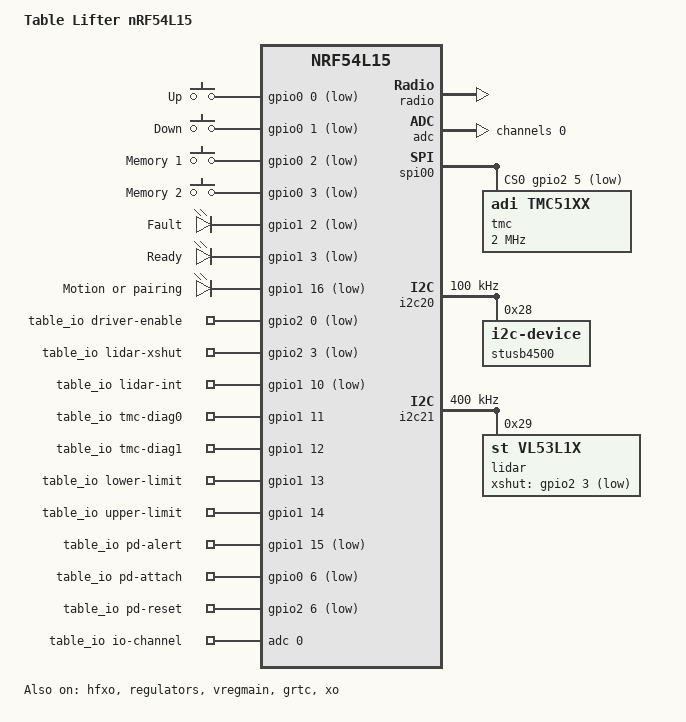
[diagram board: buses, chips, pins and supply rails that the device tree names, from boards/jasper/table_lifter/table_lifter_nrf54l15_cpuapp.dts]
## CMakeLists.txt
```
cmake_minimum_required(VERSION 3.20.0)
set(BOARD_ROOT ${CMAKE_CURRENT_LIST_DIR})
option(TABLE_LIFTER_ROTATION_TEST "Temporary handset control using commanded steps" OFF)
if(TABLE_LIFTER_ROTATION_TEST)
  set(DTC_OVERLAY_FILE "${CMAKE_CURRENT_LIST_DIR}/rotation.overlay"
      CACHE STRING "Rotation test hardware configuration" FORCE)
elseif(DTC_OVERLAY_FILE MATCHES "rotation\\.overlay")
  message(FATAL_ERROR "Use a pristine/separate build directory to leave rotation mode")
endif()
find_package(Zephyr REQUIRED HINTS $ENV{ZEPHYR_BASE})
project(table_lifter)
target_include_directories(app PRIVATE include)
option(TABLE_LIFTER_BENCH_TEST "Unloaded motor: automatic timed test on every boot" OFF)
option(TABLE_LIFTER_SPI_PROBE "Read-only continuous TMC SPI scope test" OFF)
if(TABLE_LIFTER_ROTATION_TEST AND (TABLE_LIFTER_SPI_PROBE OR TABLE_LIFTER_BENCH_TEST))
  message(FATAL_ERROR "Select only one test mode")
endif()
if(TABLE_LIFTER_ROTATION_TEST)
  target_sources(app PRIVATE src/rotation_main.c src/rotation_control.c)
elseif(TABLE_LIFTER_SPI_PROBE)
  target_sources(app PRIVATE src/spi_probe.c)
elseif(TABLE_LIFTER_BENCH_TEST)
  target_sources(app PRIVATE src/bench_main.c)
else()
  target_sources(app PRIVATE src/main.c)
endif()
target_sources(app PRIVATE
  src/buttons.c
  src/motor.c
  src/pd.c
  src/led.c
)

if(NOT TABLE_LIFTER_ROTATION_TEST)
  target_sources(app PRIVATE src/control.c src/range.c src/ble.c)
endif()
```

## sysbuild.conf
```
SB_CONFIG_BOOTLOADER_MCUBOOT=y
SB_CONFIG_BOOT_SIGNATURE_TYPE_ECDSA_P256=y
SB_CONFIG_BOOT_SIGNATURE_KEY_FILE="/home/vscode/.local/share/table-lifter/signing.pem"
```

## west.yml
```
manifest:
  version: 0.13
  projects:
    - name: zephyr
      remote: upstream
      revision: 7cd4b562b30a9bcd76a7288ad90d5e71dd6f87d2
      import:
        name-allowlist:
          - cmsis
          - cmsis_6
          - hal_nordic
          - hal_st
          - mbedtls
          - tf-psa-crypto
          - mcuboot
          - tinycrypt
          - zcbor
          - segger
          - picolibc
  remotes:
    - name: upstream
      url-base: https://github.com/zephyrproject-rtos
  self:
    path: app
```

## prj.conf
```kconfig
# Hardware interfaces and devices
CONFIG_GPIO=y
CONFIG_I2C=y
CONFIG_SPI=y
CONFIG_ADC=y
CONFIG_SENSOR=y
CONFIG_STEPPER=y
CONFIG_STEPPER_ADI_TMC51XX=y
CONFIG_VL53L1X=y
CONFIG_VL53L1X_INTERRUPT_MODE=n
CONFIG_VL53L1X_XSHUT=y

# Logging and RTT diagnostics
CONFIG_LOG=y
CONFIG_LOG_DEFAULT_LEVEL=3
CONFIG_LOG_MODE_DEFERRED=y
CONFIG_LOG_BUFFER_SIZE=4096
CONFIG_LOG_BACKEND_RTT=y
CONFIG_LOG_BACKEND_RTT_BUFFER=1
CONFIG_LOG_BACKEND_RTT_BUFFER_SIZE=2048
CONFIG_LOG_BACKEND_RTT_MODE_DROP=y

# Interactive RTT shell
CONFIG_CONSOLE=y
CONFIG_USE_SEGGER_RTT=y
CONFIG_RTT_CONSOLE=y
CONFIG_SHELL=y
CONFIG_SHELL_BACKEND_RTT=y
CONFIG_SHELL_BACKEND_RTT_BUFFER=0
CONFIG_SHELL_LOG_BACKEND=n

# Persistent settings
CONFIG_SETTINGS=y
CONFIG_SETTINGS_NVS=y
CONFIG_FLASH=y
CONFIG_FLASH_MAP=y
CONFIG_NVS=y

# Bluetooth LE
CONFIG_BT=y
CONFIG_BT_DEVICE_NAME="Table Lifter"
CONFIG_BT_MAX_CONN=1
CONFIG_BT_PERIPHERAL=y
CONFIG_BT_SMP=y
CONFIG_BT_SMP_APP_PAIRING_ACCEPT=y
CONFIG_BT_BONDABLE=y
CONFIG_BT_SETTINGS=y
CONFIG_BT_MAX_PAIRED=4
CONFIG_BT_GATT_DYNAMIC_DB=n

# Signed firmware updates over Bluetooth MCUmgr
CONFIG_STREAM_FLASH=y
CONFIG_ZCBOR=y
CONFIG_MCUMGR=y
CONFIG_MCUMGR_GRP_IMG=y
CONFIG_MCUMGR_GRP_IMG_UPLOAD_CHECK_HOOK=y
CONFIG_MCUMGR_GRP_IMG_STATUS_HOOKS=y
CONFIG_MCUMGR_MGMT_NOTIFICATION_HOOKS=y
CONFIG_MCUMGR_GRP_OS_RESET_HOOK=y
CONFIG_MCUMGR_GRP_OS=y
CONFIG_MCUMGR_TRANSPORT_BT=y
CONFIG_MCUMGR_TRANSPORT_BT_PERM_RW_ENCRYPT=y
CONFIG_IMG_MANAGER=y
CONFIG_BOOTLOADER_MCUBOOT=y
CONFIG_REBOOT=y

# Thread stacks
CONFIG_MAIN_STACK_SIZE=4096
CONFIG_SYSTEM_WORKQUEUE_STACK_SIZE=2048
```

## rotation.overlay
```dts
/* Temporary mode: no LiDAR initialization, normally OPEN limit switches. */
&lidar { status = "disabled"; };
&table_io {
    lower-limit-gpios = <&gpio1 13 GPIO_ACTIVE_LOW>;
    upper-limit-gpios = <&gpio1 14 GPIO_ACTIVE_LOW>;
};
```

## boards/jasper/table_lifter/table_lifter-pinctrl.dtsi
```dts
#include <zephyr/dt-bindings/pinctrl/nrf-pinctrl.h>
&pinctrl {
  spi00_default: spi00_default { group1 { psels = <NRF_PSEL(SPIM_SCK, 2, 1)>, <NRF_PSEL(SPIM_MOSI, 2, 2)>, <NRF_PSEL(SPIM_MISO, 2, 4)>; }; };
  spi00_sleep: spi00_sleep { group1 { psels = <NRF_PSEL(SPIM_SCK, 2, 1)>, <NRF_PSEL(SPIM_MOSI, 2, 2)>, <NRF_PSEL(SPIM_MISO, 2, 4)>; low-power-enable; }; };
  i2c20_default: i2c20_default { group1 { psels = <NRF_PSEL(TWIM_SCL, 1, 4)>, <NRF_PSEL(TWIM_SDA, 1, 5)>; }; };
  i2c20_sleep: i2c20_sleep { group1 { psels = <NRF_PSEL(TWIM_SCL, 1, 4)>, <NRF_PSEL(TWIM_SDA, 1, 5)>; low-power-enable; }; };
  i2c21_default: i2c21_default { group1 { psels = <NRF_PSEL(TWIM_SCL, 1, 8)>, <NRF_PSEL(TWIM_SDA, 1, 9)>; }; };
  i2c21_sleep: i2c21_sleep { group1 { psels = <NRF_PSEL(TWIM_SCL, 1, 8)>, <NRF_PSEL(TWIM_SDA, 1, 9)>; low-power-enable; }; };
};
```

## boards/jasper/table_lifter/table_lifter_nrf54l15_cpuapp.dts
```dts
/dts-v1/;
#include <nordic/nrf54l15_cpuapp.dtsi>
#include <vendor/nordic/nrf54l15_cpuapp_partition.dtsi>
#include <zephyr/dt-bindings/gpio/gpio.h>
#include <zephyr/dt-bindings/adc/adc.h>
#include "table_lifter-pinctrl.dtsi"

/ {
  model = "Table Lifter nRF54L15";
  compatible = "jasper,table-lifter";
  chosen {
    zephyr,code-partition = &slot0_partition;
    zephyr,sram = &cpuapp_sram;
    zephyr,flash-controller = &rram_controller;
    zephyr,flash = &cpuapp_rram;
  };
  aliases {
    up-button = &up_button;
    down-button = &down_button;
    memory1-button = &memory1_button;
    memory2-button = &memory2_button;
    led-red = &led_red;
    led-green = &led_green;
    led-blue = &led_blue;
  };
  buttons {
    compatible = "gpio-keys";
    up_button: up_button { gpios = <&gpio0 0 GPIO_ACTIVE_LOW>; label = "Up"; };
    down_button: down_button { gpios = <&gpio0 1 GPIO_ACTIVE_LOW>; label = "Down"; };
    memory1_button: memory1_button { gpios = <&gpio0 2 GPIO_ACTIVE_LOW>; label = "Memory 1"; };
    memory2_button: memory2_button { gpios = <&gpio0 3 GPIO_ACTIVE_LOW>; label = "Memory 2"; };
  };
  leds {
    compatible = "gpio-leds";
    led_red: led_red { gpios = <&gpio1 2 GPIO_ACTIVE_LOW>; label = "Fault"; };
    led_green: led_green { gpios = <&gpio1 3 GPIO_ACTIVE_LOW>; label = "Ready"; };
    led_blue: led_blue { gpios = <&gpio1 16 GPIO_ACTIVE_LOW>; label = "Motion or pairing"; };
  };
  table_io: zephyr,user {
    driver-enable-gpios = <&gpio2 0 GPIO_ACTIVE_LOW>;
    lidar-xshut-gpios = <&gpio2 3 GPIO_ACTIVE_LOW>;
    lidar-int-gpios = <&gpio1 10 GPIO_ACTIVE_LOW>;
    tmc-diag0-gpios = <&gpio1 11 GPIO_ACTIVE_HIGH>;
    tmc-diag1-gpios = <&gpio1 12 GPIO_ACTIVE_HIGH>;
    lower-limit-gpios = <&gpio1 13 GPIO_ACTIVE_HIGH>;
    upper-limit-gpios = <&gpio1 14 GPIO_ACTIVE_HIGH>;
    pd-alert-gpios = <&gpio1 15 GPIO_ACTIVE_LOW>;
    pd-attach-gpios = <&gpio0 6 GPIO_ACTIVE_LOW>;
    pd-reset-gpios = <&gpio2 6 GPIO_ACTIVE_LOW>;
    io-channels = <&adc 0>;
  };
};

&cpuapp_sram { status = "okay"; };
&hfxo { status = "okay"; };
&regulators { status = "okay"; };
&vregmain { status = "okay"; };
&grtc {
  status = "okay";
  owned-channels = <0 1 2 3 4 5 6 7 8 9 10 11>;
  child-owned-channels = <3 4 7 8 9 10 11>;
};
&clock { status = "okay"; };
&xo { status = "okay"; };
&lfclk {
  status = "okay";
  k32src = "rc";
  k32src-accuracy-ppm = <250>;
};
&gpio0 { status = "okay"; };
&gpio1 { status = "okay"; };
&gpio2 { status = "okay"; };
&gpiote20 { status = "okay"; };
&gpiote30 { status = "okay"; };
&radio { status = "okay"; };
&adc {
  status = "okay";
  #address-cells = <1>;
  #size-cells = <0>;
  channel@0 {
    reg = <0>;
    zephyr,gain = "ADC_GAIN_1_4";
    zephyr,reference = "ADC_REF_INTERNAL";
    zephyr,acquisition-time = <ADC_ACQ_TIME_DEFAULT>;
    zephyr,input-positive = <NRF_SAADC_AIN2>;
    zephyr,resolution = <12>;
  };
};
&spi00 {
  status = "okay";
  cs-gpios = <&gpio2 5 GPIO_ACTIVE_LOW>;
  pinctrl-0 = <&spi00_default>;
  pinctrl-1 = <&spi00_sleep>;
  pinctrl-names = "default", "sleep";
  tmc: tmc5160@0 {
    compatible = "adi,tmc51xx";
    reg = <0>;
    /* SPIM00: 128 MHz / 64; 1 MHz exceeds its maximum divisor of 126. */
    spi-max-frequency = <2000000>;
    clock-frequency = <16000000>;
    driver: stepper-driver {
      compatible = "adi,tmc51xx-stepper-driver";
      micro-step-res = <16>;
      en-gpios = <&gpio2 0 GPIO_ACTIVE_LOW>;
    };
    ramp: motion-controller {
      compatible = "adi,tmc51xx-stepper-ctrl";
      irun = <7>;
      ihold = <2>;
      iholddelay = <4>;
      vstart = <1>;
      vstop = <10>;
      d1 = <1>;
    };
  };
};
&i2c20 {
  status = "okay";
  pinctrl-0 = <&i2c20_default>;
  pinctrl-1 = <&i2c20_sleep>;
  pinctrl-names = "default", "sleep";
  clock-frequency = <100000>;
  stusb4500: stusb4500@28 { compatible = "zephyr,i2c-device"; reg = <0x28>; };
};
&i2c21 {
  status = "okay";
  pinctrl-0 = <&i2c21_default>;
  pinctrl-1 = <&i2c21_sleep>;
  pinctrl-names = "default", "sleep";
  clock-frequency = <400000>;
  lidar: vl53l1x@29 {
    compatible = "st,vl53l1x";
    reg = <0x29>;
    xshut-gpios = <&gpio2 3 GPIO_ACTIVE_LOW>;
  };
};
&nfct { status = "disabled"; };
```

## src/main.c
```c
#include "table_lifter.h"

#include <zephyr/dfu/mcuboot.h>
#include <zephyr/kernel.h>
#include <zephyr/logging/log.h>
#include <zephyr/settings/settings.h>

LOG_MODULE_REGISTER(table_lifter, LOG_LEVEL_INF);

struct service_state {
    bool pd_ready;
    bool buttons_ready;
    bool range_ready;
    bool ble_ready;
};

struct status_log_state {
    enum lifter_motion previous_motion;
    enum lifter_fault previous_fault;
    bool previous_pd;
    bool previous_range;
    bool first_snapshot;
    int64_t next_snapshot;
};

/** @brief Initialize services in dependency order and record optional readiness.
 *  @param services Destination for services checked during each control cycle.
 *  @return True if every service initialized successfully.
 */
static bool initialize_services(struct service_state *services)
{
    int err;
    bool healthy = true;

    err = lifter_led_init();
    healthy &= err == 0;
    if (err) LOG_ERR("LED init: %d", err);

    err = lifter_buttons_init();
    services->buttons_ready = err == 0;
    healthy &= err == 0;
    if (err) LOG_ERR("Button init: %d", err);

    err = settings_subsys_init();
    healthy &= err == 0;
    if (err) LOG_ERR("Settings init: %d", err);

    err = lifter_control_init();
    healthy &= err == 0;
    if (err) LOG_ERR("Settings load: %d", err);

    err = lifter_pd_init();
    services->pd_ready = err == 0;
    healthy &= services->pd_ready;
    if (err) LOG_ERR("STUSB4500 init: %d", err);

    err = lifter_motor_init();
    healthy &= err == 0;
    if (err) LOG_ERR("TMC5160 init: %d", err);

    err = lifter_range_init();
    services->range_ready = err == 0;
    healthy &= services->range_ready;
    if (err) LOG_ERR("VL53L1X init: %d", err);

    err = lifter_ble_init();
    services->ble_ready = err == 0;
    healthy &= services->ble_ready;
    if (err) LOG_ERR("Bluetooth init/bond load: %d", err);

    return healthy;
}

/** @brief Confirm the booted image only when all services initialized.
 *  @param healthy True if service initialization completed without errors.
 */
static void confirm_image(bool healthy)
{
    if (!healthy) {
        LOG_ERR("Service initialization incomplete; MCUboot image unconfirmed");
        return;
    }

    int err = boot_write_img_confirmed();
    if (err) LOG_ERR("MCUboot confirm failed: %d", err);
    else LOG_INF("Services initialized; MCUboot image confirmed");
}

/** @brief Log state transitions and a periodic status snapshot.
 *  @param status Latest control status.
 *  @param log_state Previous logged values and next snapshot time.
 */
static void log_status(const struct lifter_status *status,
                       struct status_log_state *log_state)
{
    int64_t now = k_uptime_get();
    if (!log_state->first_snapshot &&
        status->motion == log_state->previous_motion &&
        status->fault == log_state->previous_fault &&
        status->pd_ok == log_state->previous_pd &&
        status->range_valid == log_state->previous_range &&
        now < log_state->next_snapshot) return;

    if (status->fault == LIFTER_OK) {
        LOG_INF("motion=%d pd=%d range=%d distance=%d mm height=%d mm target=%d mm",
                status->motion, status->pd_ok, status->range_valid,
                status->distance_mm, status->height_mm, status->target_mm);
    } else {
        LOG_WRN("fault=%d motion=%d pd=%d range=%d distance=%d mm",
                status->fault, status->motion, status->pd_ok,
                status->range_valid, status->distance_mm);
    }
    struct lifter_pd_diagnostics pd = lifter_pd_diagnostics();
    struct lifter_range_diagnostics range = lifter_range_diagnostics();
    struct lifter_motor_diagnostics motor = lifter_motor_diagnostics();
    LOG_INF("diagnostics: bus=%d mV RDO=0x%08x PD_ALERT=%d lidar_status=%d raw=%d mm age=%u ms TMC GSTAT=0x%08x DRV_STATUS=0x%08x DIAG0=%d DIAG1=%d spi=%d ota=%d quiet=%d",
            pd.bus_mv, pd.rdo, pd.alert, range.range_status, range.raw_mm, range.age_ms,
            motor.gstat, motor.drv_status, motor.diag0, motor.diag1, motor.spi_ok,
            status->maintenance, status->quiet);
    log_state->previous_motion = status->motion;
    log_state->previous_fault = status->fault;
    log_state->previous_pd = status->pd_ok;
    log_state->previous_range = status->range_valid;
    log_state->first_snapshot = false;
    log_state->next_snapshot = now + 5000;
}

/** @brief Initialize firmware services and run the table control loop.
 *  @return Never returns during normal operation.
 */
int main(void)
{
    struct service_state services = {0};
    bool healthy = initialize_services(&services);
    confirm_image(healthy);

    struct status_log_state log_state = {.first_snapshot = true};

    while (true) {
        int distance = 0;
        bool range_valid = services.range_ready && lifter_range_read(&distance) == 0;
        bool pd_ok = services.pd_ready && lifter_pd_contract_ok();
        uint8_t buttons = services.buttons_ready ? lifter_buttons_read() : 0;
        uint8_t limits = services.buttons_ready ? lifter_limits_read() :
                         LIFTER_LIMIT_LOW | LIFTER_LIMIT_HIGH;

        lifter_control_tick(k_uptime_get_32(), buttons, distance, range_valid, pd_ok, limits);
        struct lifter_status state = lifter_control_status();
        if (services.ble_ready) lifter_ble_update(&state);
        /* Bluetooth may change the pairing-window flag in the control status. */
        state = lifter_control_status();
        lifter_led_update(&state);
        log_status(&state, &log_state);
        k_msleep(50);
    }
}
```

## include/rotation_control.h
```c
#ifndef ROTATION_CONTROL_H_
#define ROTATION_CONTROL_H_
#include "table_lifter.h"

/* Temporary RAM-only presets, in 1/16 microsteps (3200 per shaft revolution). */
void rotation_init(void);
void rotation_tick(uint32_t now, uint8_t buttons, uint8_t limits, bool pd_ok);
bool rotation_homed(void);
int32_t rotation_position(void);
#endif
```

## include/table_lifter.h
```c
#ifndef TABLE_LIFTER_H_
#define TABLE_LIFTER_H_

#include <stdbool.h>
#include <stdint.h>

enum lifter_motion { LIFTER_IDLE, LIFTER_UP, LIFTER_DOWN, LIFTER_AUTO };
enum lifter_fault { LIFTER_OK, LIFTER_FAULT_PD, LIFTER_FAULT_RANGE,
                    LIFTER_FAULT_DRIVER, LIFTER_FAULT_CONFIG };
enum lifter_button { LIFTER_BTN_UP, LIFTER_BTN_DOWN, LIFTER_BTN_MEM1,
                     LIFTER_BTN_MEM2, LIFTER_BUTTON_COUNT };

struct lifter_status {
    int32_t distance_mm;
    int32_t height_mm;
    int32_t target_mm;
    enum lifter_motion motion;
    enum lifter_fault fault;
    bool range_valid;
    bool pd_ok;
    bool pairing_window;
    bool calibrated;
    bool quiet;
    bool maintenance;
};

struct lifter_pd_diagnostics {
    uint32_t rdo;
    int32_t bus_mv;
    bool contract_ok;
    bool alert;
};

struct lifter_range_diagnostics {
    int32_t raw_mm;
    int32_t range_status;
    uint32_t age_ms;
};

struct lifter_motor_diagnostics {
    uint32_t gstat;
    uint32_t drv_status;
    bool spi_ok;
    bool diag0;
    bool diag1;
};

struct lifter_fault_event {
    uint32_t uptime_s;
    enum lifter_fault fault;
};

struct lifter_config {
    int32_t offset_mm;
    int32_t preset_mm[2];
    int32_t min_height_mm;
    int32_t max_height_mm;
    uint32_t valid_bits;
};

#define LIFTER_LIMIT_LOW 0x01u
#define LIFTER_LIMIT_HIGH 0x02u

/** @brief Read fail-closed endstops; bit 0 lower and bit 1 upper. */
uint8_t lifter_limits_read(void);

/** @brief Read commanded microstep position; not encoder feedback. */
int lifter_motor_position(int32_t *position);
/** @brief Stop the ramp before disabling outputs; returns error if count is uncertain. */
int lifter_motor_counted_stop(void);

/** @brief Overlay blue LED feedback for a pressed handset button. */
void lifter_led_button_feedback(bool pressed);

#define LIFTER_VALID_PRESET1 0x01u
#define LIFTER_VALID_PRESET2 0x02u
#define LIFTER_VALID_BOUNDS 0x04u
#define LIFTER_VALID_OFFSET 0x08u

/** @brief Load persisted control settings and reset transient state.
 *  @return 0 on success, or a negative errno value.
 */
int lifter_control_init(void);

/** @brief Advance the motion state machine using the latest inputs.
 *  @param now_ms Monotonic uptime in milliseconds.
 *  @param buttons Bitmask of pressed buttons.
 *  @param range_mm Latest measured floor distance in millimetres.
 *  @param range_valid Whether the measurement is valid and fresh.
 *  @param pd_ok Whether the required power contract is live.
 *  @param limits Active endstops: bit 0 lower, bit 1 upper.
 */
void lifter_control_tick(uint32_t now_ms, uint8_t buttons, int range_mm,
                         bool range_valid, bool pd_ok, uint8_t limits);

/** @brief Request an automatic move to a calibrated tabletop height.
 *  @param height_mm Target height in millimetres.
 *  @return 0 on acceptance, or a negative errno value.
 */
int lifter_control_target(int32_t height_mm);

/** @brief Stop the current move and clear the automatic target. */
void lifter_control_stop(void);

/** @brief Recall a stored floor-distance preset.
 *  @param index Zero-based preset index.
 *  @return 0 on acceptance, or a negative errno value.
 */
int lifter_control_preset(unsigned int index);

/** @brief Store the current valid floor distance as a preset.
 *  @param index Zero-based preset index.
 *  @return 0 on success, or a negative errno value.
 */
int lifter_control_store(unsigned int index);

/** @brief Set the sensor-to-tabletop calibration offset.
 *  @param offset_mm Signed offset in millimetres.
 *  @return 0 on success, or a negative errno value.
 */
int lifter_control_offset(int32_t offset_mm);

/** @brief Set measured tabletop-height travel bounds.
 *  @param min_mm Minimum allowed height in millimetres.
 *  @param max_mm Maximum allowed height in millimetres.
 *  @return 0 on success, or a negative errno value.
 */
int lifter_control_bounds(int32_t min_mm, int32_t max_mm);

/** @brief Select and persist the lower-speed quiet profile.
 *  @param quiet True for quiet motion, false for normal motion.
 *  @return 0 on success, or a negative errno value.
 */
int lifter_control_set_quiet(bool quiet);

/** @brief Latch OTA maintenance while motion is idle.
 *  @return 0 if maintenance is active, or -EBUSY during motion.
 */
int lifter_control_enter_maintenance(void);

/** @brief Clear maintenance after an explicit cancelled upload. */
void lifter_control_cancel_maintenance(void);

/** @brief Copy the most recent fault transitions, newest first.
 *  @param events Destination for four event records.
 *  @return Number of valid records.
 */
unsigned int lifter_control_fault_history(struct lifter_fault_event events[4]);

/** @brief Get a snapshot of the motion and sensor status.
 *  @return Current status snapshot.
 */
struct lifter_status lifter_control_status(void);

/** @brief Get a snapshot of persisted control settings.
 *  @return Current settings snapshot.
 */
struct lifter_config lifter_control_config(void);

/** @brief Consume a pending local pairing gesture.
 *  @return True once for each completed gesture.
 */
bool lifter_control_pairing_request(void);

/** @brief Report whether Bluetooth pairing is currently open.
 *  @param open True while the pairing window is open.
 */
void lifter_control_pairing_window(bool open);

/** @brief Initialize the TMC5160 and verify SPI communication.
 *  @return 0 on success, or a negative errno value.
 */
int lifter_motor_init(void);

/** @brief Run the motor in a direction using the selected speed ramp.
 *  @param direction Requested up or down direction.
 *  @param slow True to use the near-target speed.
 *  @param quiet True to use the quiet speed and acceleration profile.
 *  @return 0 on success, or a negative errno value.
 */
int lifter_motor_run(enum lifter_motion direction, bool slow, bool quiet);

/** @brief Stop the ramp controller and disable the motor outputs. */
void lifter_motor_stop(void);

/** @brief Check TMC5160 status and SPI communication.
 *  @return True if the motor is uninitialized or a driver fault is present.
 */
bool lifter_motor_fault(void);

/** @brief Read the latest raw TMC register diagnostics.
 *  @return Last motor diagnostics snapshot.
 */
struct lifter_motor_diagnostics lifter_motor_diagnostics(void);

/** @brief Start the LiDAR ranging thread.
 *  @return 0 on success, or a negative errno value.
 */
int lifter_range_init(void);

/** @brief Read the latest valid, fresh floor distance.
 *  @param distance_mm Destination for the distance in millimetres.
 *  @return 0 on success, or a negative errno value.
 */
int lifter_range_read(int *distance_mm);

/** @brief Read raw LiDAR status, distance, and sample age.
 *  @return Last LiDAR diagnostics snapshot.
 */
struct lifter_range_diagnostics lifter_range_diagnostics(void);

/** @brief Initialize the STUSB4500 I2C and motor-bus ADC paths.
 *  @return 0 on success, or a negative errno value.
 */
int lifter_pd_init(void);

/** @brief Check the negotiated 20 V / 3 A contract and motor bus.
 *  @return True only while the contract and measured voltage are valid.
 */
bool lifter_pd_contract_ok(void);

/** @brief Read the last measured PD and motor-bus data.
 *  @return Last PD diagnostics snapshot.
 */
struct lifter_pd_diagnostics lifter_pd_diagnostics(void);

/** @brief Program and verify the STUSB4500 PDO3 20 V / 3 A NVM profile.
 *  @return 0 on success, or a negative errno value.
 */
int lifter_pd_provision_20v3a(void);

/** @brief Configure the four active-low handset inputs.
 *  @return 0 on success, or a negative errno value.
 */
int lifter_buttons_init(void);

/** @brief Read debounced pressed-button state.
 *  @return Bitmask of pressed buttons.
 */
uint8_t lifter_buttons_read(void);

/** @brief Configure the red, green and blue status LEDs.
 *  @return 0 on success, or a negative errno value.
 */
int lifter_led_init(void);

/** @brief Show ready, motion/pairing or fault status on the LEDs.
 *  @param status Current control status.
 */
void lifter_led_update(const struct lifter_status *status);

/** @brief Start Bluetooth advertising, bonding and MCUmgr hooks.
 *  @return 0 on success, or a negative errno value.
 */
int lifter_ble_init(void);

/** @brief Update pairing-window state and notify subscribed clients.
 *  @param status Current control status.
 */
void lifter_ble_update(const struct lifter_status *status);

#endif
```

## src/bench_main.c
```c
#include "table_lifter.h"

#include <zephyr/drivers/gpio.h>
#include <zephyr/drivers/i2c.h>
#include <zephyr/kernel.h>
#include <zephyr/logging/log.h>
#include <zephyr/sys/byteorder.h>

LOG_MODULE_REGISTER(bench_test, LOG_LEVEL_INF);

static const struct gpio_dt_spec enable =
    GPIO_DT_SPEC_GET(DT_NODELABEL(table_io), driver_enable_gpios);
static const struct i2c_dt_spec pd = I2C_DT_SPEC_GET(DT_NODELABEL(stusb4500));

/** @brief Deassert the bridge enable independently of the main test loop. */
static void disable_bridge(struct k_timer *timer)
{
    ARG_UNUSED(timer);
    (void)gpio_pin_set_dt(&enable, 0);
}

K_TIMER_DEFINE(stop_timer, disable_bridge, NULL);

/** @brief Run one unloaded, timed test per boot; never enter normal table control. */
int main(void)
{
    if (!gpio_is_ready_dt(&enable)) return 0;
    if (gpio_pin_configure_dt(&enable, GPIO_OUTPUT_INACTIVE)) return 0;
    LOG_WRN("BENCH TEST: unloaded motor only; automatic test after 5 seconds");
    k_sleep(K_SECONDS(5));

    uint8_t bytes[4];
    if (!i2c_is_ready_dt(&pd) || i2c_burst_read_dt(&pd, 0x91, bytes, 4)) {
        LOG_ERR("No PD communication; motor stays disabled");
        return 0;
    }
    uint32_t rdo = sys_get_le32(bytes);
    LOG_INF("PD RDO=0x%08x", rdo);
    if (((rdo >> 28) & 7u) == 0 || ((rdo >> 10) & 0x3ffu) < 300u ||
        (rdo & 0x3ffu) < 300u || (rdo & BIT(26))) {
        LOG_ERR("3 A operating contract not present; power cycle after provisioning");
        return 0;
    }
    int err = lifter_motor_init();
    if (err || lifter_motor_fault()) {
        (void)gpio_pin_set_dt(&enable, 0);
        LOG_ERR("Motor init/fault check failed: %d; no movement", err);
        return 0;
    }

    LOG_WRN("Starting 3-second test at maximum 7.5 rpm");
    k_timer_start(&stop_timer, K_SECONDS(3), K_NO_WAIT);
    err = lifter_motor_run(LIFTER_UP, true, false);
    int64_t end = k_uptime_get() + 3000;
    while (!err && k_uptime_get() < end && k_timer_remaining_get(&stop_timer) > 0) {
        if (lifter_motor_fault()) {
            LOG_ERR("Motor fault; stopping");
            break;
        }
        k_msleep(20);
    }
    (void)gpio_pin_set_dt(&enable, 0);
    lifter_motor_stop();
    k_timer_stop(&stop_timer);
    LOG_INF("Test finished; bridge disabled; run result=%d", err);
    return 0;
}
```

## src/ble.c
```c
#include "table_lifter.h"

#include <zephyr/bluetooth/bluetooth.h>
#include <zephyr/bluetooth/conn.h>
#include <zephyr/bluetooth/gatt.h>
#include <zephyr/bluetooth/uuid.h>
#include <zephyr/kernel.h>
#include <zephyr/logging/log.h>
#include <zephyr/mgmt/mcumgr/mgmt/callbacks.h>
#include <zephyr/mgmt/mcumgr/mgmt/mgmt_defines.h>
#include <zephyr/settings/settings.h>
#include <zephyr/sys/atomic.h>
#include <zephyr/sys/byteorder.h>
#include <zephyr/sys/util.h>

#include <errno.h>
#include <string.h>

LOG_MODULE_REGISTER(lifter_ble, LOG_LEVEL_INF);

#define TL_UUID(suffix) BT_UUID_128_ENCODE(0xb545afe1, 0x55f0, 0x4e9c, 0x8f96, (suffix))
static const struct bt_uuid_128 service_uuid = BT_UUID_INIT_128(TL_UUID(0x5d458b500001));
static const struct bt_uuid_128 status_uuid = BT_UUID_INIT_128(TL_UUID(0x5d458b500002));
static const struct bt_uuid_128 command_uuid = BT_UUID_INIT_128(TL_UUID(0x5d458b500003));
static const struct bt_uuid_128 config_uuid = BT_UUID_INIT_128(TL_UUID(0x5d458b500004));
static const struct bt_uuid_128 diagnostics_uuid = BT_UUID_INIT_128(TL_UUID(0x5d458b500005));
static const struct bt_uuid_128 history_uuid = BT_UUID_INIT_128(TL_UUID(0x5d458b500006));
static const struct bt_data advertising_data[] = {
    BT_DATA_BYTES(BT_DATA_FLAGS, (BT_LE_AD_GENERAL | BT_LE_AD_NO_BREDR)),
    BT_DATA(BT_DATA_NAME_COMPLETE, CONFIG_BT_DEVICE_NAME, sizeof(CONFIG_BT_DEVICE_NAME) - 1),
};

static struct bt_conn *active_conn;
static int64_t pairing_until;
static K_MUTEX_DEFINE(pairing_lock);
static atomic_t image_uploaded;

struct bond_query {
    const bt_addr_le_t *peer;
    bool found;
};

/** @brief Match an enumerated bond to the active Bluetooth peer.
 *  @param info Bond record being visited.
 *  @param user_data Bond query state.
 */
static void bond_check(const struct bt_bond_info *info, void *user_data)
{
    struct bond_query *query = user_data;
    if (!bt_addr_le_cmp(&info->addr, query->peer)) query->found = true;
}

/** @brief Check that a connection is both encrypted and bonded.
 *  @param conn Bluetooth connection to check.
 *  @return True when both requirements are met.
 */
static bool bonded_encrypted(struct bt_conn *conn)
{
    if (bt_conn_get_security(conn) < BT_SECURITY_L2) return false;
    struct bt_conn_info conn_info;
    if (bt_conn_get_info(conn, &conn_info)) return false;
    struct bond_query query = {
        .peer = bt_conn_get_dst(conn), .found = false,
    };
    bt_foreach_bond(conn_info.id, bond_check, &query);
    return query.found;
}

/** @brief Encode the versioned status characteristic payload.
 *  @param payload Destination for the 16-byte payload.
 *  @param status Control state to encode.
 */
static void encode_status(uint8_t payload[16], const struct lifter_status *status)
{
    payload[0] = 1;
    payload[1] = status->motion;
    payload[2] = status->fault;
    payload[3] = (status->range_valid ? BIT(0) : 0) |
                        (status->pd_ok ? BIT(1) : 0) |
                        (status->calibrated ? BIT(2) : 0) |
                        (status->pairing_window ? BIT(3) : 0) |
                        (status->quiet ? BIT(4) : 0) |
                        (status->maintenance ? BIT(5) : 0);
    sys_put_le32(status->distance_mm, &payload[4]);
    sys_put_le32(status->height_mm, &payload[8]);
    sys_put_le32(status->target_mm, &payload[12]);
}

/** @brief Serve a GATT status read.
 *  @param conn Reading Bluetooth connection.
 *  @param attr GATT characteristic attribute.
 *  @param buf Destination buffer.
 *  @param len Destination capacity in bytes.
 *  @param offset Read offset in bytes.
 *  @return Bytes read, or a negative ATT error.
 */
static ssize_t read_status(struct bt_conn *conn, const struct bt_gatt_attr *attr,
                           void *buf, uint16_t len, uint16_t offset)
{
    struct lifter_status status = lifter_control_status();
    uint8_t payload[16];
    encode_status(payload, &status);
    return bt_gatt_attr_read(conn, attr, buf, len, offset,
                             payload, sizeof(payload));
}

/** @brief Serve an encrypted GATT configuration read.
 *  @param conn Reading Bluetooth connection.
 *  @param attr GATT characteristic attribute.
 *  @param buf Destination buffer.
 *  @param len Destination capacity in bytes.
 *  @param offset Read offset in bytes.
 *  @return Bytes read, or a negative ATT error.
 */
static ssize_t read_config(struct bt_conn *conn, const struct bt_gatt_attr *attr,
                           void *buf, uint16_t len, uint16_t offset)
{
    uint8_t payload[25];
    struct lifter_config config = lifter_control_config();
    payload[0] = 1;
    sys_put_le32(config.valid_bits, &payload[1]);
    sys_put_le32(config.offset_mm, &payload[5]);
    sys_put_le32(config.preset_mm[0], &payload[9]);
    sys_put_le32(config.preset_mm[1], &payload[13]);
    sys_put_le32(config.min_height_mm, &payload[17]);
    sys_put_le32(config.max_height_mm, &payload[21]);
    return bt_gatt_attr_read(conn, attr, buf, len, offset, payload, sizeof(payload));
}

/** @brief Pack the latest hardware diagnostics into a 20-byte BLE payload.
 *  @param payload Destination for versioned diagnostics.
 */
static void encode_diagnostics(uint8_t payload[20])
{
    struct lifter_pd_diagnostics pd = lifter_pd_diagnostics();
    struct lifter_range_diagnostics range = lifter_range_diagnostics();
    struct lifter_motor_diagnostics motor = lifter_motor_diagnostics();
    payload[0] = 1;
    payload[1] = (pd.contract_ok ? BIT(0) : 0) | (motor.spi_ok ? BIT(1) : 0) |
                 (pd.alert ? BIT(2) : 0) | (motor.diag0 ? BIT(3) : 0) |
                 (motor.diag1 ? BIT(4) : 0);
    payload[2] = (uint8_t)range.range_status;
    payload[3] = (uint8_t)MIN(range.age_ms / 10u, 255u);
    sys_put_le16((uint16_t)CLAMP(range.raw_mm, 0, UINT16_MAX), &payload[4]);
    sys_put_le16((uint16_t)CLAMP(pd.bus_mv, 0, UINT16_MAX), &payload[6]);
    sys_put_le32(pd.rdo, &payload[8]);
    sys_put_le32(motor.gstat, &payload[12]);
    sys_put_le32(motor.drv_status, &payload[16]);
}

/** @brief Serve a bonded encrypted read of current hardware diagnostics.
 *  @param conn Reading connection.
 *  @param attr GATT attribute.
 *  @param buf Destination buffer.
 *  @param len Buffer capacity.
 *  @param offset Read offset.
 *  @return Bytes read or an ATT error.
 */
static ssize_t read_diagnostics(struct bt_conn *conn, const struct bt_gatt_attr *attr,
                                void *buf, uint16_t len, uint16_t offset)
{
    uint8_t payload[20];
    encode_diagnostics(payload);
    return bt_gatt_attr_read(conn, attr, buf, len, offset, payload, sizeof(payload));
}

/** @brief Serve the four newest fault transitions from volatile memory.
 *  @param conn Reading connection.
 *  @param attr GATT attribute.
 *  @param buf Destination buffer.
 *  @param len Buffer capacity.
 *  @param offset Read offset.
 *  @return Bytes read or an ATT error.
 */
static ssize_t read_history(struct bt_conn *conn, const struct bt_gatt_attr *attr,
                            void *buf, uint16_t len, uint16_t offset)
{
    struct lifter_fault_event events[4] = {0};
    uint8_t payload[22] = {0};
    payload[0] = 1;
    payload[1] = lifter_control_fault_history(events);
    for (unsigned int i = 0; i < payload[1]; ++i) {
        sys_put_le32(events[i].uptime_s, &payload[2 + i * 5]);
        payload[6 + i * 5] = events[i].fault;
    }
    return bt_gatt_attr_read(conn, attr, buf, len, offset, payload, sizeof(payload));
}

/** @brief Decode an authenticated motion or settings GATT command.
 *  @param conn Writing Bluetooth connection.
 *  @param attr GATT characteristic attribute.
 *  @param buf Command payload.
 *  @param len Payload length in bytes.
 *  @param offset Write offset in bytes.
 *  @param flags Zephyr GATT write flags.
 *  @return Bytes accepted, or a negative ATT error.
 */
static ssize_t write_command(struct bt_conn *conn, const struct bt_gatt_attr *attr,
                             const void *buf, uint16_t len, uint16_t offset, uint8_t flags)
{
    const uint8_t *data = buf;
    int err = -EINVAL;
    ARG_UNUSED(attr);
    ARG_UNUSED(flags);
    if (!bonded_encrypted(conn)) return BT_GATT_ERR(BT_ATT_ERR_AUTHORIZATION);
    if (offset || len < 2 || data[0] != 1) return BT_GATT_ERR(BT_ATT_ERR_INVALID_PDU);
    if (lifter_control_status().maintenance && data[1] != 4 && data[1] != 8)
        return BT_GATT_ERR(BT_ATT_ERR_VALUE_NOT_ALLOWED);
    switch (data[1]) {
    case 1: /* target height in millimetres */
        if (len == 6) err = lifter_control_target((int32_t)sys_get_le32(&data[2]));
        break;
    case 2: /* recall preset: 0 or 1 */
        if (len == 3) err = lifter_control_preset(data[2]);
        break;
    case 3: /* store preset: 0 or 1 */
        if (len == 3) err = lifter_control_store(data[2]);
        break;
    case 4: /* stop */
        if (len == 2) { lifter_control_stop(); err = 0; }
        break;
    case 5: /* tabletop offset in millimetres */
        if (len == 6) err = lifter_control_offset((int32_t)sys_get_le32(&data[2]));
        break;
    case 6: /* measured height bounds in millimetres */
        if (len == 10) err = lifter_control_bounds((int32_t)sys_get_le32(&data[2]),
                                                   (int32_t)sys_get_le32(&data[6]));
        break;
    case 7: /* quiet speed profile */
        if (len == 3 && data[2] <= 1) err = lifter_control_set_quiet(data[2] != 0);
        break;
    case 8: /* explicit cancellation of an incomplete OTA upload */
        if (len == 2 && !atomic_get(&image_uploaded)) {
            lifter_control_cancel_maintenance();
            err = 0;
        }
        break;
    default: break;
    }
    if (err) LOG_WRN("Bluetooth command %u rejected: %d", data[1], err);
    else LOG_INF("Bluetooth command %u accepted", data[1]);
    return err ? BT_GATT_ERR(BT_ATT_ERR_VALUE_NOT_ALLOWED) : len;
}

/** @brief Handle changes to the status notification subscription.
 *  @param attr CCC descriptor attribute.
 *  @param value New CCC value.
 */
static void ccc_changed(const struct bt_gatt_attr *attr, uint16_t value)
{
    ARG_UNUSED(attr);
    ARG_UNUSED(value);
}

BT_GATT_SERVICE_DEFINE(table_service,
    BT_GATT_PRIMARY_SERVICE(&service_uuid.uuid),
    BT_GATT_CHARACTERISTIC(&status_uuid.uuid, BT_GATT_CHRC_READ | BT_GATT_CHRC_NOTIFY,
                           BT_GATT_PERM_READ, read_status, NULL, NULL),
    BT_GATT_CCC(ccc_changed, BT_GATT_PERM_READ | BT_GATT_PERM_WRITE),
    BT_GATT_CHARACTERISTIC(&command_uuid.uuid, BT_GATT_CHRC_WRITE,
                           BT_GATT_PERM_WRITE_ENCRYPT, NULL, write_command, NULL),
    BT_GATT_CHARACTERISTIC(&config_uuid.uuid, BT_GATT_CHRC_READ,
                           BT_GATT_PERM_READ_ENCRYPT, read_config, NULL, NULL),
    BT_GATT_CHARACTERISTIC(&diagnostics_uuid.uuid, BT_GATT_CHRC_READ | BT_GATT_CHRC_NOTIFY,
                           BT_GATT_PERM_READ_ENCRYPT, read_diagnostics, NULL, NULL),
    BT_GATT_CCC(ccc_changed, BT_GATT_PERM_READ_ENCRYPT | BT_GATT_PERM_WRITE_ENCRYPT),
    BT_GATT_CHARACTERISTIC(&history_uuid.uuid, BT_GATT_CHRC_READ,
                           BT_GATT_PERM_READ_ENCRYPT, read_history, NULL, NULL)
);

/** @brief Accept new Bluetooth pairing only during the local pairing window.
 *  @param conn Connection requesting pairing.
 *  @param feat Peer pairing capabilities.
 *  @return Bluetooth pairing policy result.
 */
static enum bt_security_err pairing_accept(struct bt_conn *conn,
                                           const struct bt_conn_pairing_feat *feat)
{
    ARG_UNUSED(conn);
    ARG_UNUSED(feat);
    k_mutex_lock(&pairing_lock, K_FOREVER);
    bool open = k_uptime_get() < pairing_until;
    k_mutex_unlock(&pairing_lock);
    return open ? BT_SECURITY_ERR_SUCCESS : BT_SECURITY_ERR_PAIR_NOT_ALLOWED;
}

static const struct bt_conn_auth_cb auth_callbacks = {
    .pairing_accept = pairing_accept,
};

/** @brief Track a new Bluetooth connection and request encryption.
 *  @param conn Connected peer.
 *  @param err Connection result from Zephyr.
 */
static void connected(struct bt_conn *conn, uint8_t err)
{
    if (err || active_conn) return;
    active_conn = bt_conn_ref(conn);
    LOG_INF("Bluetooth connected; requesting encryption");
    (void)bt_conn_set_security(conn, BT_SECURITY_L2);
}

/** @brief Release a disconnected peer and restart advertising.
 *  @param conn Disconnected peer.
 *  @param reason Bluetooth disconnect reason.
 */
static void disconnected(struct bt_conn *conn, uint8_t reason)
{
    ARG_UNUSED(reason);
    if (active_conn == conn) {
        bt_conn_unref(active_conn);
        active_conn = NULL;
    }
    LOG_INF("Bluetooth disconnected; active target remains under local control");
    /* Motion intentionally continues after a phone disconnect. */
    (void)bt_le_adv_start(BT_LE_ADV_CONN_FAST_1, advertising_data,
                          ARRAY_SIZE(advertising_data), NULL, 0);
}

BT_CONN_CB_DEFINE(table_conn_callbacks) = {
    .connected = connected,
    .disconnected = disconnected,
};

/** @brief Latch maintenance before accepting the first authenticated DFU chunk.
 *  @param event MCUmgr callback event.
 *  @param previous Result from any previous callback.
 *  @param err_rc Destination for an MCUmgr error code.
 *  @param err_group Destination for an MCUmgr error group.
 *  @param abort_more Destination for callback-chain control.
 *  @param data Event-specific payload.
 *  @param data_size Payload size in bytes.
 *  @return MCUmgr callback result.
 */
static enum mgmt_cb_return upload_check(uint32_t event, enum mgmt_cb_return previous,
                                         int32_t *err_rc, uint16_t *err_group,
                                         bool *abort_more, void *data, size_t data_size)
{
    ARG_UNUSED(event);
    ARG_UNUSED(err_group);
    ARG_UNUSED(abort_more);
    ARG_UNUSED(data);
    ARG_UNUSED(data_size);
    if (previous != MGMT_CB_OK) return previous;
    if (!active_conn || !bonded_encrypted(active_conn) ||
        lifter_control_enter_maintenance()) {
        *err_rc = MGMT_ERR_EACCESSDENIED;
        return MGMT_CB_ERROR_RC;
    }
    return MGMT_CB_OK;
}

/** @brief Keep motion locked after a complete image transfer.
 *  @param event MCUmgr event.
 *  @param previous Earlier callback result.
 *  @param err_rc Unused MCUmgr error destination.
 *  @param err_group Unused error group destination.
 *  @param abort_more Unused callback-chain control.
 *  @param data Unused event payload.
 *  @param data_size Unused payload size.
 *  @return Unchanged prior callback result.
 */
static enum mgmt_cb_return upload_finished(uint32_t event, enum mgmt_cb_return previous,
                                            int32_t *err_rc, uint16_t *err_group,
                                            bool *abort_more, void *data, size_t data_size)
{
    ARG_UNUSED(err_rc);
    ARG_UNUSED(err_group);
    ARG_UNUSED(abort_more);
    ARG_UNUSED(data);
    ARG_UNUSED(data_size);
    if (event == MGMT_EVT_OP_IMG_MGMT_DFU_PENDING && previous == MGMT_CB_OK) {
        atomic_set(&image_uploaded, 1);
        LOG_INF("OTA image transferred; motion remains locked until reboot");
    }
    return previous;
}

/** @brief Authorize MCUmgr reset only for an idle, bonded encrypted peer.
 *  @param event MCUmgr event.
 *  @param previous Earlier callback result.
 *  @param err_rc MCUmgr error destination.
 *  @param err_group Unused error group destination.
 *  @param abort_more Unused callback-chain control.
 *  @param data Unused event payload.
 *  @param data_size Unused payload size.
 *  @return Callback authorization result.
 */
static enum mgmt_cb_return reset_check(uint32_t event, enum mgmt_cb_return previous,
                                       int32_t *err_rc, uint16_t *err_group,
                                       bool *abort_more, void *data, size_t data_size)
{
    ARG_UNUSED(event);
    ARG_UNUSED(err_group);
    ARG_UNUSED(abort_more);
    ARG_UNUSED(data);
    ARG_UNUSED(data_size);
    if (previous != MGMT_CB_OK) return previous;
    if (!active_conn || !bonded_encrypted(active_conn) ||
        lifter_control_status().motion != LIFTER_IDLE) {
        *err_rc = MGMT_ERR_EACCESSDENIED;
        return MGMT_CB_ERROR_RC;
    }
    return MGMT_CB_OK;
}

static struct mgmt_callback upload_callback = {
    .callback = upload_check,
    .event_id = MGMT_EVT_OP_IMG_MGMT_DFU_CHUNK,
};

static struct mgmt_callback reset_callback = {
    .callback = reset_check,
    .event_id = MGMT_EVT_OP_OS_MGMT_RESET,
};
static struct mgmt_callback finished_callback = {
    .callback = upload_finished,
    .event_id = MGMT_EVT_OP_IMG_MGMT_DFU_PENDING,
};

int lifter_ble_init(void)
{
    int err = bt_enable(NULL);
    if (err) return err;
    err = bt_conn_auth_cb_register(&auth_callbacks);
    if (err) return err;
    err = settings_load_subtree("bt");
    if (err) return err;
    err = bt_le_adv_start(BT_LE_ADV_CONN_FAST_1, advertising_data,
                          ARRAY_SIZE(advertising_data), NULL, 0);
    if (err) return err;
    mgmt_callback_register(&upload_callback);
    mgmt_callback_register(&reset_callback);
    mgmt_callback_register(&finished_callback);
    LOG_INF("Bluetooth advertising and MCUmgr ready");
    return 0;
}

void lifter_ble_update(const struct lifter_status *status)
{
    k_mutex_lock(&pairing_lock, K_FOREVER);
    if (lifter_control_pairing_request()) {
        pairing_until = k_uptime_get() + 60000;
        LOG_INF("Pairing window open for 60 seconds");
    }
    bool open = k_uptime_get() < pairing_until;
    k_mutex_unlock(&pairing_lock);
    lifter_control_pairing_window(open);
    static int64_t last_notify;
    if (k_uptime_get() - last_notify >= 1000) {
        struct lifter_status fresh = lifter_control_status();
        uint8_t payload[16];
        encode_status(payload, &fresh);
        (void)bt_gatt_notify(NULL, &table_service.attrs[2], payload,
                              sizeof(payload));
        uint8_t diagnostics[20];
        encode_diagnostics(diagnostics);
        (void)bt_gatt_notify(NULL, &table_service.attrs[9], diagnostics,
                              sizeof(diagnostics));
        last_notify = k_uptime_get();
    }
    ARG_UNUSED(status);
}
```

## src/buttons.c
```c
#include "table_lifter.h"

#include <zephyr/drivers/gpio.h>
#include <zephyr/kernel.h>
#include <zephyr/logging/log.h>
#include <zephyr/sys/util.h>

#include <errno.h>

LOG_MODULE_REGISTER(lifter_buttons, LOG_LEVEL_INF);

static const struct gpio_dt_spec buttons[LIFTER_BUTTON_COUNT] = {
    GPIO_DT_SPEC_GET(DT_ALIAS(up_button), gpios),
    GPIO_DT_SPEC_GET(DT_ALIAS(down_button), gpios),
    GPIO_DT_SPEC_GET(DT_ALIAS(memory1_button), gpios),
    GPIO_DT_SPEC_GET(DT_ALIAS(memory2_button), gpios),
};
static const struct gpio_dt_spec limits[] = {
    GPIO_DT_SPEC_GET(DT_NODELABEL(table_io), lower_limit_gpios),
    GPIO_DT_SPEC_GET(DT_NODELABEL(table_io), upper_limit_gpios),
};
static uint8_t stable;
static uint8_t candidate;
static int64_t candidate_since;

int lifter_buttons_init(void)
{
    for (size_t i = 0; i < ARRAY_SIZE(buttons); ++i) {
        if (!gpio_is_ready_dt(&buttons[i])) {
            LOG_ERR("Button %zu GPIO is not ready", i);
            return -ENODEV;
        }
        int err = gpio_pin_configure_dt(&buttons[i], GPIO_INPUT);
        if (err) {
            LOG_ERR("Button %zu GPIO configuration failed: %d", i, err);
            return err;
        }
    }
    for (size_t i = 0; i < ARRAY_SIZE(limits); ++i) {
        if (!gpio_is_ready_dt(&limits[i])) return -ENODEV;
        int err = gpio_pin_configure_dt(&limits[i], GPIO_INPUT);
        if (err) return err;
    }
    LOG_INF("Handset and normally closed limit switches ready");
    return 0;
}

uint8_t lifter_buttons_read(void)
{
    uint8_t raw = 0;
    int64_t now = k_uptime_get();
    for (size_t i = 0; i < ARRAY_SIZE(buttons); ++i) {
        int value = gpio_pin_get_dt(&buttons[i]);
        if (value > 0) raw |= BIT(i);
        if (value < 0) return stable;
    }
    if (raw != candidate) {
        candidate = raw;
        candidate_since = now;
    } else if (now - candidate_since >= 30) {
        stable = candidate;
    }
    return stable;
}

uint8_t lifter_limits_read(void)
{
    uint8_t active = 0;
    /* NC to ground: opened switch, cable break or read error blocks travel. */
    for (size_t i = 0; i < ARRAY_SIZE(limits); ++i) {
        if (gpio_pin_get_dt(&limits[i]) != 0) active |= BIT(i);
    }
    return active;
}
```

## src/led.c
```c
#include "table_lifter.h"

#include <zephyr/drivers/gpio.h>
#include <zephyr/kernel.h>
#include <zephyr/logging/log.h>

#include <errno.h>

LOG_MODULE_REGISTER(lifter_led, LOG_LEVEL_INF);

static const struct gpio_dt_spec red = GPIO_DT_SPEC_GET(DT_ALIAS(led_red), gpios);
static const struct gpio_dt_spec green = GPIO_DT_SPEC_GET(DT_ALIAS(led_green), gpios);
static const struct gpio_dt_spec blue = GPIO_DT_SPEC_GET(DT_ALIAS(led_blue), gpios);

int lifter_led_init(void)
{
    const struct gpio_dt_spec *leds[] = {&red, &green, &blue};
    for (size_t i = 0; i < ARRAY_SIZE(leds); ++i) {
        if (!gpio_is_ready_dt(leds[i])) {
            LOG_ERR("LED %zu GPIO is not ready", i);
            return -ENODEV;
        }
        int err = gpio_pin_configure_dt(leds[i], GPIO_OUTPUT_INACTIVE);
        if (err) {
            LOG_ERR("LED %zu GPIO configuration failed: %d", i, err);
            return err;
        }
    }
    LOG_INF("RGB status LED ready");
    return 0;
}

void lifter_led_update(const struct lifter_status *status)
{
    bool fault = status->fault != LIFTER_OK;
    uint32_t phase = k_uptime_get_32() % (status->fault * 400u + 800u);
    bool red_on = fault && phase < status->fault * 400u && phase % 400u < 200u;
    (void)gpio_pin_set_dt(&red, red_on);
    (void)gpio_pin_set_dt(&green, !fault && status->pd_ok && status->motion == LIFTER_IDLE);
    (void)gpio_pin_set_dt(&blue, !fault &&
                          (status->motion != LIFTER_IDLE || status->pairing_window ||
                           (status->maintenance && (k_uptime_get_32() / 500u) % 2u == 0u)));
}

void lifter_led_button_feedback(bool pressed)
{
    /* Call after the regular status update so release restores that display.
     * Leave red fault indication intact while confirming button detection. */
    if (pressed) (void)gpio_pin_set_dt(&blue, 1);
}
```

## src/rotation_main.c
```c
#include "rotation_control.h"
#include <zephyr/dfu/mcuboot.h>
#include <zephyr/kernel.h>
#include <zephyr/logging/log.h>

LOG_MODULE_REGISTER(rotation_test, LOG_LEVEL_INF);

int main(void)
{
    LOG_WRN("ROTATION TEST: normally-open endstops, no LiDAR, RAM-only memories, no BLE");
    rotation_init();
    int err = lifter_led_init();
    if (!err) err = lifter_buttons_init();
    if (!err) err = lifter_pd_init();
    if (!err) err = lifter_motor_init();
    if (!err) err = lifter_motor_counted_stop();
    if (err) {
        LOG_ERR("Initialization failed: %d; no movement", err);
        return 0;
    }
    (void)boot_write_img_confirmed();
    LOG_INF("Release controls, then hold DOWN to the lower switch to reference");
    int64_t next_log = 0;
    while (true) {
        bool pd_ok = lifter_pd_contract_ok();
        uint8_t buttons = lifter_buttons_read();
        uint8_t limits = lifter_limits_read();
        rotation_tick(k_uptime_get_32(), buttons, limits, pd_ok);
        struct lifter_status state = lifter_control_status();
        lifter_led_update(&state);
        lifter_led_button_feedback(buttons != 0);
        if (k_uptime_get() >= next_log) {
            struct lifter_pd_diagnostics pd = lifter_pd_diagnostics();
            LOG_INF("steps=%d home=%d buttons=0x%x limits=0x%x motion=%d fault=%d",
                    rotation_position(), rotation_homed(), buttons, limits,
                    state.motion, state.fault);
            LOG_INF("bus=%d mV RDO=0x%08x pd=%d", pd.bus_mv, pd.rdo, pd_ok);
            next_log = k_uptime_get() + 2000;
        }
        k_msleep(20);
    }
}
```
